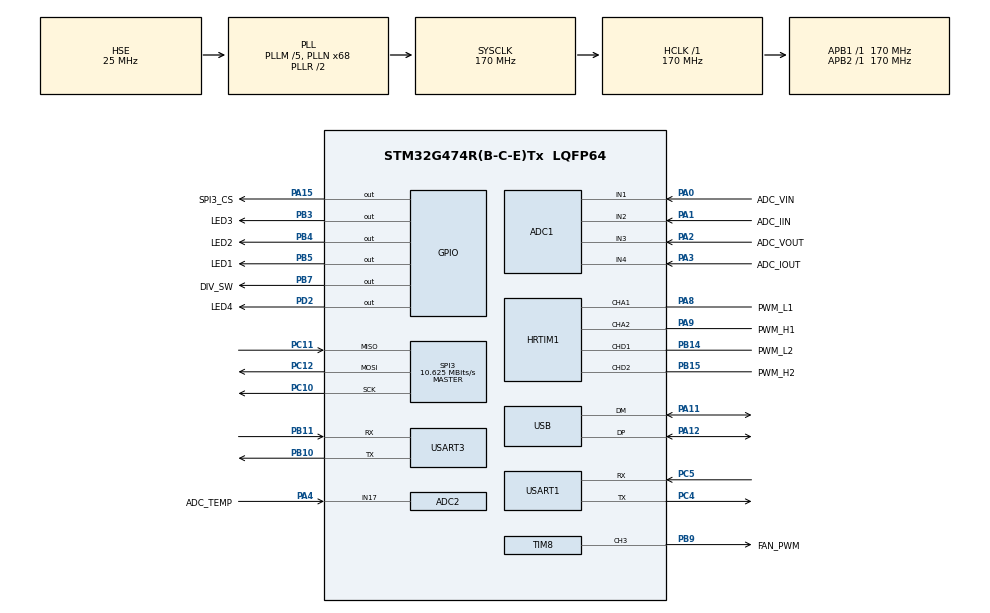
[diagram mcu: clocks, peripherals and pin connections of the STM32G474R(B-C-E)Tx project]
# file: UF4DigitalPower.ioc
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ADC1.Channel-0\#ChannelRegularConversion=ADC_CHANNEL_1
ADC1.Channel-1\#ChannelRegularConversion=ADC_CHANNEL_2
ADC1.Channel-2\#ChannelRegularConversion=ADC_CHANNEL_3
ADC1.Channel-3\#ChannelRegularConversion=ADC_CHANNEL_4
ADC1.DMAContinuousRequests=ENABLE
ADC1.EOCSelection=ADC_EOC_SEQ_CONV
ADC1.ExternalTrigConv=ADC_EXTERNALTRIG_HRTIM_TRG1
ADC1.NbrOfConversion=4
ADC1.NbrOfConversionFlag=1
ADC1.OffsetNumber-0\#ChannelRegularConversion=ADC_OFFSET_NONE
ADC1.OffsetNumber-1\#ChannelRegularConversion=ADC_OFFSET_NONE
ADC1.OffsetNumber-2\#ChannelRegularConversion=ADC_OFFSET_NONE
ADC1.OffsetNumber-3\#ChannelRegularConversion=ADC_OFFSET_NONE
ADC1.Overrun=ADC_OVR_DATA_OVERWRITTEN
ADC1.OversamplingMode=ENABLE
ADC1.Rank-0\#ChannelRegularConversion=1
ADC1.Rank-1\#ChannelRegularConversion=2
ADC1.Rank-2\#ChannelRegularConversion=3
ADC1.Rank-3\#ChannelRegularConversion=4
ADC1.Ratio=ADC_OVERSAMPLING_RATIO_4
ADC1.RightBitShift=ADC_RIGHTBITSHIFT_1
ADC1.SamplingTime-0\#ChannelRegularConversion=ADC_SAMPLETIME_2CYCLES_5
ADC1.SamplingTime-1\#ChannelRegularConversion=ADC_SAMPLETIME_2CYCLES_5
ADC1.SamplingTime-2\#ChannelRegularConversion=ADC_SAMPLETIME_2CYCLES_5
ADC1.SamplingTime-3\#ChannelRegularConversion=ADC_SAMPLETIME_2CYCLES_5
ADC1.master=1
ADC2.Channel-0\#ChannelRegularConversion=ADC_CHANNEL_17
ADC2.NbrOfConversionFlag=1
ADC2.OffsetNumber-0\#ChannelRegularConversion=ADC_OFFSET_NONE
ADC2.Overrun=ADC_OVR_DATA_OVERWRITTEN
ADC2.OversamplingMode=ENABLE
ADC2.Rank-0\#ChannelRegularConversion=1
ADC2.Ratio=ADC_OVERSAMPLING_RATIO_256
ADC2.RightBitShift=ADC_RIGHTBITSHIFT_4
ADC2.SamplingTime-0\#ChannelRegularConversion=ADC_SAMPLETIME_92CYCLES_5
ADC5.Channel-0\#ChannelRegularConversion=ADC_CHANNEL_TEMPSENSOR_ADC5
ADC5.NbrOfConversionFlag=1
ADC5.OffsetNumber-0\#ChannelRegularConversion=ADC_OFFSET_NONE
ADC5.Overrun=ADC_OVR_DATA_OVERWRITTEN
ADC5.OversamplingMode=ENABLE
ADC5.Rank-0\#ChannelRegularConversion=1
ADC5.Ratio=ADC_OVERSAMPLING_RATIO_64
ADC5.RightBitShift=ADC_RIGHTBITSHIFT_3
ADC5.SamplingTime-0\#ChannelRegularConversion=ADC_SAMPLETIME_640CYCLES_5
Dma.ADC1.0.Direction=DMA_PERIPH_TO_MEMORY
Dma.ADC1.0.EventEnable=DISABLE
Dma.ADC1.0.Instance=DMA1_Channel1
Dma.ADC1.0.MemDataAlignment=DMA_MDATAALIGN_HALFWORD
Dma.ADC1.0.MemInc=DMA_MINC_ENABLE
Dma.ADC1.0.Mode=DMA_CIRCULAR
Dma.ADC1.0.PeriphDataAlignment=DMA_PDATAALIGN_HALFWORD
Dma.ADC1.0.PeriphInc=DMA_PINC_DISABLE
Dma.ADC1.0.Polarity=HAL_DMAMUX_REQ_GEN_RISING
Dma.ADC1.0.Priority=DMA_PRIORITY_HIGH
Dma.ADC1.0.RequestNumber=1
Dma.ADC1.0.SignalID=NONE
Dma.ADC1.0.SyncEnable=DISABLE
Dma.ADC1.0.SyncPolarity=HAL_DMAMUX_SYNC_NO_EVENT
Dma.ADC1.0.SyncRequestNumber=1
Dma.ADC1.0.SyncSignalID=NONE
Dma.Request0=ADC1
Dma.Request1=SPI3_RX
Dma.Request2=SPI3_TX
Dma.SPI3_RX.1.Direction=DMA_PERIPH_TO_MEMORY
Dma.SPI3_RX.1.EventEnable=DISABLE
Dma.SPI3_RX.1.Instance=DMA1_Channel2
Dma.SPI3_RX.1.MemDataAlignment=DMA_MDATAALIGN_BYTE
Dma.SPI3_RX.1.MemInc=DMA_MINC_ENABLE
Dma.SPI3_RX.1.Mode=DMA_NORMAL
Dma.SPI3_RX.1.PeriphDataAlignment=DMA_PDATAALIGN_BYTE
Dma.SPI3_RX.1.PeriphInc=DMA_PINC_DISABLE
Dma.SPI3_RX.1.Polarity=HAL_DMAMUX_REQ_GEN_RISING
Dma.SPI3_RX.1.Priority=DMA_PRIORITY_LOW
Dma.SPI3_RX.1.RequestNumber=1
Dma.SPI3_RX.1.SignalID=NONE
Dma.SPI3_RX.1.SyncEnable=DISABLE
Dma.SPI3_RX.1.SyncPolarity=HAL_DMAMUX_SYNC_NO_EVENT
Dma.SPI3_RX.1.SyncRequestNumber=1
Dma.SPI3_RX.1.SyncSignalID=NONE
Dma.SPI3_TX.2.Direction=DMA_MEMORY_TO_PERIPH
Dma.SPI3_TX.2.EventEnable=DISABLE
Dma.SPI3_TX.2.Instance=DMA1_Channel3
Dma.SPI3_TX.2.MemDataAlignment=DMA_MDATAALIGN_BYTE
Dma.SPI3_TX.2.MemInc=DMA_MINC_ENABLE
Dma.SPI3_TX.2.Mode=DMA_NORMAL
Dma.SPI3_TX.2.PeriphDataAlignment=DMA_PDATAALIGN_BYTE
Dma.SPI3_TX.2.PeriphInc=DMA_PINC_DISABLE
Dma.SPI3_TX.2.Polarity=HAL_DMAMUX_REQ_GEN_RISING
Dma.SPI3_TX.2.Priority=DMA_PRIORITY_LOW
Dma.SPI3_TX.2.RequestNumber=1
Dma.SPI3_TX.2.SignalID=NONE
Dma.SPI3_TX.2.SyncEnable=DISABLE
Dma.SPI3_TX.2.SyncPolarity=HAL_DMAMUX_SYNC_NO_EVENT
Dma.SPI3_TX.2.SyncRequestNumber=1
Dma.SPI3_TX.2.SyncSignalID=NONE
HRTIM1.ADCTrigger1_Source1=HRTIM_ADCTRIGGEREVENT13_TIMERA_CMP3
HRTIM1.ADCTrigger_Id1=HRTIM_ADCTRIGGER_1
HRTIM1.CompareUnit1-Output_TA1TA2=HRTIM_COMPAREUNIT_1
HRTIM1.CompareUnit1-Output_TD1TD2=HRTIM_COMPAREUNIT_1
HRTIM1.CompareUnit3-Output_TA1TA2=HRTIM_COMPAREUNIT_3
HRTIM1.CompareValue1-Output_TA1TA2=15000
HRTIM1.CompareValue1-Output_TD1TD2=300
HRTIM1.CompareValue3-Output_TA1TA2=6500
HRTIM1.DeadTimeInsertion-Output_TA1TA2=HRTIM_TIMDEADTIMEINSERTION_ENABLED
HRTIM1.Deadtimeconfig-Output_TA1TA2=HRTIM_TIMERINDEX_TIMER_A
HRTIM1.Deadtimeconfig-Output_TD1TD2=HRTIM_TIMERINDEX_TIMER_D
HRTIM1.FallingLock-Output_TA1TA2=HRTIM_TIMDEADTIME_FALLINGLOCK_READONLY
HRTIM1.FallingLock-Output_TD1TD2=HRTIM_TIMDEADTIME_FALLINGLOCK_READONLY
HRTIM1.FallingSignLock-Output_TA1TA2=HRTIM_TIMDEADTIME_FALLINGSIGNLOCK_READONLY
HRTIM1.FallingSignLock-Output_TD1TD2=HRTIM_TIMDEADTIME_FALLINGSIGNLOCK_READONLY
HRTIM1.FallingValue-Output_TA1TA2=100
HRTIM1.FallingValue-Output_TD1TD2=100
HRTIM1.FaultLock-Output_TA1TA2=HRTIM_TIMFAULTLOCK_READONLY
HRTIM1.InterruptRequests1-Output_TA1TA2=HRTIM_TIM_IT_REP
HRTIM1.NumberADCTriggerSource1=1
HRTIM1.NumberInterruptRequests-Output_TA1TA2=1
HRTIM1.NumberResetSource1-Output_TA1TA2=1
HRTIM1.NumberResetSource1-Output_TD1TD2=1
HRTIM1.NumberSetSource1-Output_TA1TA2=1
HRTIM1.NumberSetSource1-Output_TD1TD2=1
HRTIM1.Periode_TA=30000
HRTIM1.Periode_TD=30000
HRTIM1.PreloadEnable-Output_TA1TA2=HRTIM_PRELOAD_ENABLED
HRTIM1.RepetitionUpdate-Output_TA1TA2=HRTIM_UPDATEONREPETITION_ENABLED
HRTIM1.ResetOutput1_Source1-Output_TA1TA2=HRTIM_OUTPUTRESET_TIMCMP1
HRTIM1.ResetOutput1_Source1-Output_TD1TD2=HRTIM_OUTPUTRESET_TIMCMP1
HRTIM1.RisingLock-Output_TA1TA2=HRTIM_TIMDEADTIME_RISINGLOCK_READONLY
HRTIM1.RisingLock-Output_TD1TD2=HRTIM_TIMDEADTIME_RISINGLOCK_READONLY
HRTIM1.RisingSignLock-Output_TA1TA2=HRTIM_TIMDEADTIME_RISINGSIGNLOCK_READONLY
HRTIM1.RisingSignLock-Output_TD1TD2=HRTIM_TIMDEADTIME_RISINGSIGNLOCK_READONLY
HRTIM1.RisingValue-Output_TA1TA2=400
HRTIM1.RisingValue-Output_TD1TD2=400
HRTIM1.SetOutput1_Source1-Output_TA1TA2=HRTIM_OUTPUTSET_TIMPER
HRTIM1.SetOutput1_Source1-Output_TD1TD2=HRTIM_OUTPUTSET_TIMPER
IWDG.Prescaler=IWDG_PRESCALER_32
IWDG.Reload=1000
IWDG.Window=1000
Mcu.Family=STM32G4
Mcu.Name=STM32G474R(B-C-E)Tx
Mcu.Package=LQFP64
NVIC.DMA1_Channel1_IRQn=true\:0\:0\:false\:false\:true\:false\:true\:true
NVIC.DMA1_Channel2_IRQn=true\:0\:0\:false\:false\:true\:false\:true\:true
NVIC.DMA1_Channel3_IRQn=true\:0\:0\:false\:false\:true\:false\:true\:true
NVIC.HRTIM1_FLT_IRQn=true\:0\:0\:false\:false\:true\:true\:true\:true
NVIC.HRTIM1_TIMA_IRQn=true\:0\:0\:false\:false\:true\:true\:true\:true
NVIC.PriorityGroup=NVIC_PRIORITYGROUP_4
NVIC.TIM1_TRG_COM_TIM17_IRQn=true\:0\:0\:false\:false\:true\:true\:true\:true
NVIC.TIM1_UP_TIM16_IRQn=true\:0\:0\:false\:false\:true\:true\:true\:true
NVIC.TIM2_IRQn=true\:0\:0\:false\:false\:true\:true\:true\:true
NVIC.TIM3_IRQn=true\:0\:0\:false\:false\:true\:true\:true\:true
NVIC.TIM4_IRQn=true\:0\:0\:false\:false\:true\:true\:true\:true
NVIC.USB_LP_IRQn=true\:0\:0\:false\:false\:true\:false\:true\:true
PA0.GPIO_Label=ADC_VIN
PA0.Mode=IN1-Single-Ended
PA0.Signal=ADC1_IN1
PA1.GPIO_Label=ADC_IIN
PA1.Mode=IN2-Single-Ended
PA1.Signal=ADC1_IN2
PA11.Mode=Device
PA11.Signal=USB_DM
PA12.Mode=Device
PA12.Signal=USB_DP
PA13.Mode=Serial_Wire
PA13.Signal=SYS_JTMS-SWDIO
PA14.Mode=Serial_Wire
PA14.Signal=SYS_JTCK-SWCLK
PA15.GPIO_Label=SPI3_CS
PA15.Signal=GPIO_Output
PA2.GPIO_Label=ADC_VOUT
PA2.Mode=IN3-Single-Ended
PA2.Signal=ADC1_IN3
PA3.GPIO_Label=ADC_IOUT
PA3.Mode=IN4-Single-Ended
PA3.Signal=ADC1_IN4
PA4.GPIO_Label=ADC_TEMP
PA4.Mode=IN17-Single-Ended
PA4.Signal=ADC2_IN17
PA8.GPIO_Label=PWM_L1
PA8.Mode=Output_TA1TA2
PA8.Signal=HRTIM1_CHA1
PA9.GPIO_Label=PWM_H1
PA9.Mode=Output_TA1TA2
PA9.Signal=HRTIM1_CHA2
PB10.GPIO_Speed=GPIO_SPEED_FREQ_VERY_HIGH
PB10.Mode=Asynchronous
PB10.Signal=USART3_TX
PB11.GPIO_Speed=GPIO_SPEED_FREQ_VERY_HIGH
PB11.Mode=Asynchronous
PB11.Signal=USART3_RX
PB14.GPIO_Label=PWM_L2
PB14.Mode=Output_TD1TD2
PB14.Signal=HRTIM1_CHD1
PB15.GPIO_Label=PWM_H2
PB15.Mode=Output_TD1TD2
PB15.Signal=HRTIM1_CHD2
PB3.GPIO_Label=LED3
PB3.Signal=GPIO_Output
PB4.GPIO_Label=LED2
PB4.Signal=GPIO_Output
PB5.GPIO_Label=LED1
PB5.Signal=GPIO_Output
PB7.GPIO_Label=DIV_SW
PB7.Signal=GPIO_Output
PB9.GPIO_FM9=SYSCFG_FASTMODEPLUS_PB9
PB9.GPIO_Label=FAN_PWM
PB9.GPIO_Speed=GPIO_SPEED_FREQ_VERY_HIGH
PB9.Signal=S_TIM8_CH3
PC10.GPIO_PuPd=GPIO_NOPULL
PC10.GPIO_Speed=GPIO_SPEED_FREQ_VERY_HIGH
PC10.Mode=Full_Duplex_Master
PC10.Signal=SPI3_SCK
PC11.GPIO_Speed=GPIO_SPEED_FREQ_VERY_HIGH
PC11.Mode=Full_Duplex_Master
PC11.Signal=SPI3_MISO
PC12.GPIO_PuPd=GPIO_NOPULL
PC12.GPIO_Speed=GPIO_SPEED_FREQ_VERY_HIGH
PC12.Mode=Full_Duplex_Master
PC12.Signal=SPI3_MOSI
PC14-OSC32_IN.Mode=LSE-External-Oscillator
PC14-OSC32_IN.Signal=RCC_OSC32_IN
PC15-OSC32_OUT.Mode=LSE-External-Oscillator
PC15-OSC32_OUT.Signal=RCC_OSC32_OUT
PC4.GPIO_Speed=GPIO_SPEED_FREQ_VERY_HIGH
PC4.Mode=Asynchronous
PC4.Signal=USART1_TX
PC5.GPIO_Speed=GPIO_SPEED_FREQ_VERY_HIGH
PC5.Mode=Asynchronous
PC5.Signal=USART1_RX
PD2.GPIO_Label=LED4
PD2.Signal=GPIO_Output
PF0-OSC_IN.Mode=HSE-External-Oscillator
PF0-OSC_IN.Signal=RCC_OSC_IN
PF1-OSC_OUT.Mode=HSE-External-Oscillator
PF1-OSC_OUT.Signal=RCC_OSC_OUT
ProjectManager.HeapSize=0x200
ProjectManager.StackSize=0x400
ProjectManager.TargetToolchain=STM32CubeIDE
RCC.ADC12Freq_Value=170000000
RCC.ADC345Freq_Value=170000000
RCC.AHBFreq_Value=170000000
RCC.APB1Freq_Value=170000000
RCC.APB1TimFreq_Value=170000000
RCC.APB2Freq_Value=170000000
RCC.APB2TimFreq_Value=170000000
RCC.CK48CLockSelection=RCC_USBCLKSOURCE_HSI48
RCC.CortexFreq_Value=170000000
RCC.EXTERNAL_CLOCK_VALUE=12288000
RCC.HCLKFreq_Value=170000000
RCC.HSE_VALUE=25000000
RCC.HSI48_VALUE=48000000
RCC.HSI_VALUE=16000000
RCC.PLLM=RCC_PLLM_DIV5
RCC.PLLN=68
RCC.PLLQ=RCC_PLLQ_DIV6
RCC.PLLSourceVirtual=RCC_PLLSOURCE_HSE
RCC.SYSCLKFreq_VALUE=170000000
RCC.SYSCLKSource=RCC_SYSCLKSOURCE_PLLCLK
RCC.USBFreq_Value=48000000
RCC.VCOOutputFreq_Value=340000000
SH.S_TIM8_CH3.0=TIM8_CH3,PWM Generation3 CH3
SPI3.BaudRatePrescaler=SPI_BAUDRATEPRESCALER_16
SPI3.CalculateBaudRate=10.625 MBits/s
SPI3.DataSize=SPI_DATASIZE_8BIT
SPI3.Direction=SPI_DIRECTION_2LINES
SPI3.Mode=SPI_MODE_MASTER
SPI3.NSSPMode=SPI_NSS_PULSE_ENABLE
SPI3.VirtualType=VM_MASTER
TIM2.AutoReloadPreload=TIM_AUTORELOAD_PRELOAD_ENABLE
TIM2.PeriodNoDither=999
TIM2.Prescaler=169
TIM3.AutoReloadPreload=TIM_AUTORELOAD_PRELOAD_ENABLE
TIM3.PeriodNoDither=4999
TIM3.Prescaler=169
TIM4.AutoReloadPreload=TIM_AUTORELOAD_PRELOAD_ENABLE
TIM4.PeriodNoDither=10000-1
TIM4.Prescaler=169
TIM8.AutoReloadPreload=TIM_AUTORELOAD_PRELOAD_ENABLE
TIM8.Channel-PWM\ Generation3\ CH3=TIM_CHANNEL_3
TIM8.PeriodNoDither=999
TIM8.Prescaler=5
TIM8.PulseNoDither_3=500
USART1.VirtualMode-Asynchronous=VM_ASYNC
USART3.VirtualMode-Asynchronous=VM_ASYNC
USB_DEVICE.CLASS_NAME_FS=CDC
USB_DEVICE.CONFIGURATION_STRING_CDC_FS=Power Config
USB_DEVICE.INTERFACE_STRING_CDC_FS=Power Interface
USB_DEVICE.MANUFACTURER_STRING=UF4OVER
USB_DEVICE.PID_CDC_FS=8738
USB_DEVICE.PRODUCT_STRING_CDC_FS=UF4DigitalPower
USB_DEVICE.USBD_LPM_ENABLED=1
USB_DEVICE.VID=2001
USB_DEVICE.VirtualMode=Cdc
USB_DEVICE.VirtualModeFS=Cdc_FS
VP_ADC5_TempSens_Input.Mode=IN-TempSens
VP_IWDG_VS_IWDG.Mode=IWDG_Activate
VP_SYS_VS_DBSignals.Mode=DisableDeadBatterySignals
VP_TIM16_VS_ClockSourceINT.Mode=Enable_Timer
VP_TIM17_VS_ClockSourceINT.Mode=Enable_Timer
VP_TIM2_VS_ClockSourceINT.Mode=Internal
VP_TIM3_VS_ClockSourceINT.Mode=Internal
VP_TIM4_VS_ClockSourceINT.Mode=Internal
VP_TIM8_VS_ClockSourceINT.Mode=Internal
VP_USB_DEVICE_VS_USB_DEVICE_CDC_FS.Mode=CDC_FS
board=custom

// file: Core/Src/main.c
/* USER CODE BEGIN Header */
/**
  ******************************************************************************
  * @file           : main.c
  * @brief          : Main program body
  ******************************************************************************
  * @attention
  *
  * Copyright (c) 2026 STMicroelectronics.
  * All rights reserved.
  *
  * This software is licensed under terms that can be found in the LICENSE file
  * in the root directory of this software component.
  * If no LICENSE file comes with this software, it is provided AS-IS.
  *
  ******************************************************************************
  */
/* USER CODE END Header */
#include "main.h"
#include "adc.h"
#include "dma.h"
#include "hrtim.h"
#include "iwdg.h"
#include "spi.h"
#include "tim.h"
#include "usart.h"
#include "usb_device.h"
#include "gpio.h"

/* USER CODE BEGIN Includes */
#include "uf4_power_main.h"
#include "uf4_power_pid.h"
#include "uf4_tvlcom.h"
/* USER CODE END Includes */

/* USER CODE BEGIN PD */

/* Set to 0 to run normal USER power-control flow. */
#define HRTIM_AD_PIN_DEMO          0U
#define DEMO_SELF_CHECK_TIMEOUT_MS 200U

/* USER CODE END PD */

/* USER CODE BEGIN PM */
// 毫秒计时变量
volatile uint16_t ms_cnt_1 = 0; // 计时变量1
volatile uint16_t ms_cnt_2 = 0; // 计时变量2
volatile uint16_t ms_cnt_3 = 0; // 计时变量3
volatile uint16_t ms_cnt_4 = 0; // 计时变量4

/* USER CODE END PM */

void SystemClock_Config(void);

int main(void) {

  /* MCU Configuration--------------------------------------------------------*/

  /* Reset of all peripherals, Initializes the Flash interface and the Systick. */
  HAL_Init();

  /* Configure the system clock */
  SystemClock_Config();

  /* Initialize all configured peripherals */
  MX_GPIO_Init();
  MX_DMA_Init();
  MX_HRTIM1_Init();
  MX_ADC1_Init();
  MX_ADC2_Init();
  MX_ADC5_Init();
  MX_SPI3_Init();
  MX_TIM4_Init();
  MX_USB_Device_Init();
  MX_TIM2_Init();
  MX_TIM3_Init();
  MX_TIM8_Init();
  MX_USART1_UART_Init();
  MX_USART3_UART_Init();
  MX_TIM16_Init();
  MX_TIM17_Init();
  MX_IWDG_Init();
  /* USER CODE BEGIN 2 */
  DF.SMFlag = Init;                         // 初始化状态机
  HAL_TIM_PWM_Start(&htim8, TIM_CHANNEL_3); // 启动定时器8和通道3的PWM输出
  FAN_PWM_set(100);                         // 设置风扇转速为100%

  HAL_GPIO_WritePin(DIV_SW_GPIO_Port, DIV_SW_Pin, GPIO_PIN_SET); // 设置分压开关为分压状态

  HAL_TIM_Base_Start_IT(&htim2);            // 启动定时器2和定时器中断，1kHz
  HAL_TIM_Base_Start_IT(&htim3);            // 启动定时器3和定时器中断，200Hz
  HAL_TIM_Base_Start_IT(&htim4);            // 启动定时器4和定时器中断，100Hz
  PID_Init();                               // PID初始化
  Init_Flash();                             // Flash初始化
  Read_Flash();                             // 读取Flash数据
  UF4_TvlcomInit();                         // TVLCOM通信初始化

  HAL_Delay(200);                                        // 延时100ms，等待供电稳定

  HAL_ADCEx_Calibration_Start(&hadc1, ADC_SINGLE_ENDED); // 校准ADC1
  HAL_ADCEx_Calibration_Start(&hadc2, ADC_SINGLE_ENDED); // 校准ADC2
  HAL_ADCEx_Calibration_Start(&hadc5, ADC_SINGLE_ENDED); // 校准ADC5

  HAL_ADC_Start_DMA(&hadc1, (uint32_t *)ADC1_RESULT, 4); // 启动ADC1采样和DMA数据传送,采样输入输出电压电流

  HAL_ADC_Start(&hadc2);                                 // 启动ADC2采样，采样NTC温度
  HAL_ADC_Start(&hadc5);                                 // 启动ADC5采样，采样单片机CPU温度

  HAL_HRTIM_WaveformCountStart(&hhrtim1, HRTIM_TIMERID_TIMER_A);                     // 开启HRTIM波形计数器
  HAL_HRTIM_WaveformCountStart(&hhrtim1, HRTIM_TIMERID_TIMER_D);                     // 开启HRTIM波形计数器

  __HAL_HRTIM_TIMER_ENABLE_IT(&hhrtim1, HRTIM_TIMERINDEX_TIMER_A, HRTIM_TIM_IT_REP); // 开启HRTIM定时器A的中断

  UF4_BoardSetRunLed(0U);    // 关闭LED_G
  UF4_BoardSetStatusLed(0U); // 关闭LED_R

  FAN_PWM_set(0); // 设置风扇转速为0

  /* USER CODE END 2 */

  /* Infinite loop */
  while (1) {

    /* USER CODE BEGIN 3 */

    UF4_TvlcomProcess(); // 处理上位机TVLCOM命令

    if (ms_cnt_3 >= 10) // 判断是否计时到10ms
    {
      ms_cnt_3 = 0;    // 计时清零
      BUZZER_Short();  // 蜂鸣器短促鸣叫
      ADC_calculate(); // ADC采样结果计算
    }

    if (ms_cnt_4 >= 50) // 判断是否计时到50ms
    {
      ms_cnt_4 = 0;    // 计时清零
      BUZZER_Middle(); // 蜂鸣器中速鸣叫

      if ((DF.SMFlag == Rise) || (DF.SMFlag == Run)) // 判断当前状态
      {
        UF4_BoardSetRunLed(1U); // LED_G输出状态指示灯亮
      }
      else
      {
        UF4_BoardSetRunLed(0U); // LED_G输出状态指示灯灭
      }

      if (ms_cnt_2 >= 100) // 判断是否计时到100ms
      {
        ms_cnt_2 = 0;   // 计时清零
        Auto_FAN();     // 风扇转速控制
      }

      if (ms_cnt_1 >= 500) // 判断是否计时到500ms
      {
        ms_cnt_1 = 0;                                   // 计时清零
        UF4_BoardToggleStatusLed();                     // LED_R电平翻转
        Update_Flash();                                 // 更新Flash存储内容

      }

      HAL_IWDG_Refresh(&hiwdg); // 喂狗
    }
    /* USER CODE END 3 */
  }
}

void SystemClock_Config(void)
{
  RCC_OscInitTypeDef RCC_OscInitStruct = {0};
  RCC_ClkInitTypeDef RCC_ClkInitStruct = {0};

  /** Configure the main internal regulator output voltage
  */
  HAL_PWREx_ControlVoltageScaling(PWR_REGULATOR_VOLTAGE_SCALE1_BOOST);

  /** Initializes the RCC Oscillators according to the specified parameters
  * in the RCC_OscInitTypeDef structure.
  */
  RCC_OscInitStruct.OscillatorType = RCC_OSCILLATORTYPE_HSI48|RCC_OSCILLATORTYPE_LSI
                              |RCC_OSCILLATORTYPE_HSE;
  RCC_OscInitStruct.HSEState = RCC_HSE_ON;
  RCC_OscInitStruct.LSIState = RCC_LSI_ON;
  RCC_OscInitStruct.HSI48State = RCC_HSI48_ON;
  RCC_OscInitStruct.PLL.PLLState = RCC_PLL_ON;
  RCC_OscInitStruct.PLL.PLLSource = RCC_PLLSOURCE_HSE;
  RCC_OscInitStruct.PLL.PLLM = RCC_PLLM_DIV5;
  RCC_OscInitStruct.PLL.PLLN = 68;
  RCC_OscInitStruct.PLL.PLLP = RCC_PLLP_DIV2;
  RCC_OscInitStruct.PLL.PLLQ = RCC_PLLQ_DIV6;
  RCC_OscInitStruct.PLL.PLLR = RCC_PLLR_DIV2;
  if (HAL_RCC_OscConfig(&RCC_OscInitStruct) != HAL_OK)
  {
    Error_Handler();
  }

  /** Initializes the CPU, AHB and APB buses clocks
  */
  RCC_ClkInitStruct.ClockType = RCC_CLOCKTYPE_HCLK|RCC_CLOCKTYPE_SYSCLK
                              |RCC_CLOCKTYPE_PCLK1|RCC_CLOCKTYPE_PCLK2;
  RCC_ClkInitStruct.SYSCLKSource = RCC_SYSCLKSOURCE_PLLCLK;
  RCC_ClkInitStruct.AHBCLKDivider = RCC_SYSCLK_DIV1;
  RCC_ClkInitStruct.APB1CLKDivider = RCC_HCLK_DIV1;
  RCC_ClkInitStruct.APB2CLKDivider = RCC_HCLK_DIV1;

  if (HAL_RCC_ClockConfig(&RCC_ClkInitStruct, FLASH_LATENCY_4) != HAL_OK)
  {
    Error_Handler();
  }
}

/* USER CODE BEGIN 4 */

/**
 * @brief HAL_TIM_PeriodElapsedCallback函数,中断回调函数
 *
 * 当定时器周期结束时，该函数将被调用。
 *
 * @param htim TIM句柄指针
 */
void HAL_TIM_PeriodElapsedCallback(TIM_HandleTypeDef *htim) {
  if (htim->Instance == TIM2) // 定时器TIM2，中断时间1ms
  {
    ms_cnt_1++;
    ms_cnt_2++;
    ms_cnt_3++;
    ms_cnt_4++;
  }
  if (htim->Instance == TIM3) // 定时器TIM3，中断时间5ms
  {
    ADCSample(); // ADC采样滤波函数
    ShortOff();  // 短路保护
    OTP();       // 过温保护
    OVP();       // 输出过压保护
    OCP();       // 输出过流保护
    StateM();    // 电源状态机函数
    BBMode();    // 运行模式判断
  }
  // if (htim->Instance == TIM4) // 定时器TIM4，中断时间10ms
}
/* USER CODE END 4 */

void Error_Handler(void)
{
  __disable_irq();
  while (1)
  {
  }
}
